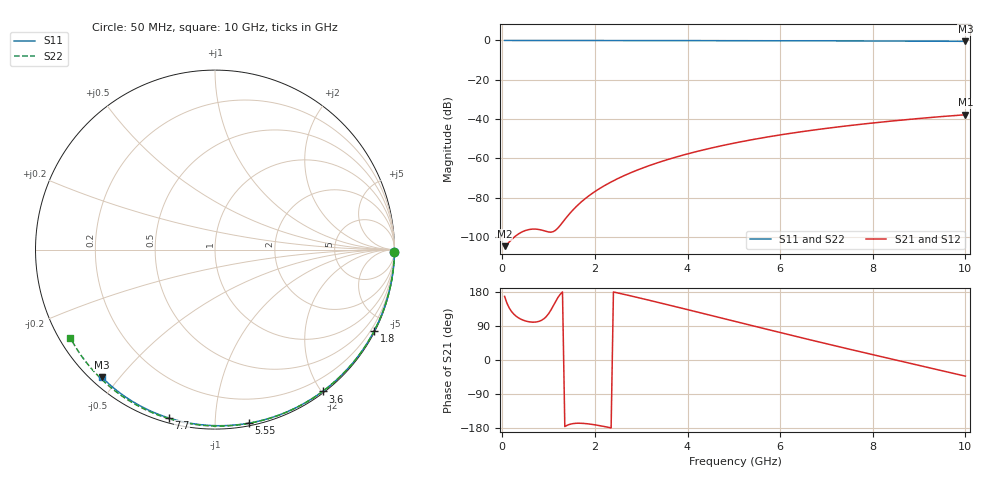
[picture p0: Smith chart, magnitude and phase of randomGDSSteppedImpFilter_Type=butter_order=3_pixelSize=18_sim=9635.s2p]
! freq	dB(S11)	phase(S11)	dB(S12)	phase(S12)
!  dB(S21)	phase(S21)	dB(S22)	phase(S22)
!S-par simulation data
#  GHz  S  DB  R 50
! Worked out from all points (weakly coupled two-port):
!   200 points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, 50 MHz to 10 GHz, reference 50 ohm
!   highest |S21| = -37.83 dB at 10 GHz (marker M1); lowest = -104.7 dB at 50 MHz (marker M2)
!   lowest |S11| = -0.4 dB at 10 GHz (marker M3), VSWR 38.98, Z = 1.54 - j22.4 ohm
!   |S11| at or under -10 dB: nowhere
!   |S22| runs from -0.5 to 0.0 dB; largest |S21 - S12| = 0
!   S11 on the Smith chart (normalised r, x): 50 MHz: open; 1.8 GHz: 0.04, -4.16; 3.6 GHz: 0.02, -2.01; 5.55 GHz: 0.02, -1.22; 7.7 GHz: 0.02, -0.76; 10 GHz: 0.03, -0.45
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0.05  -0.00 -0.8  -104.73 167.9  -104.73 167.9  -0.00 -0.9
0.45  -0.01 -6.9  -97.22 105.1  -97.22 105.1  -0.01 -7.8
0.9  -0.02 -13.6  -96.88 108.9  -96.88 108.9  -0.02 -15.4
1.3  -0.02 -19.6  -92.65 179.6  -92.65 179.6  -0.03 -22.2
1.75  -0.03 -26.3  -81.31 -167.3  -81.31 -167.3  -0.04 -29.7
1.8  -0.03 -27.0  -80.35 -167.8  -80.35 -167.8  -0.04 -30.5
1.85  -0.04 -27.7  -79.44 -168.5  -79.44 -168.5  -0.04 -31.4
2  -0.04 -29.9  -76.92 -171.1  -76.92 -171.1  -0.04 -33.9
2.15  -0.04 -32.1  -74.69 -174.3  -74.69 -174.3  -0.05 -36.3
2.5  -0.05 -37.2  -70.26 176.8  -70.26 176.8  -0.05 -42.0
2.9  -0.06 -42.9  -66.13 165.6  -66.13 165.6  -0.06 -48.5
3.4  -0.07 -50.0  -61.90 150.9  -61.90 150.9  -0.07 -56.4
3.6  -0.07 -52.8  -60.42 145.0  -60.42 145.0  -0.08 -59.5
4.3  -0.09 -62.4  -55.95 123.9  -55.95 123.9  -0.10 -70.3
5.05  -0.11 -72.4  -52.06 101.2  -52.06 101.2  -0.13 -81.4
5.55  -0.13 -78.9  -49.86 86.0  -49.86 86.0  -0.14 -88.6
6.1  -0.15 -85.8  -47.72 69.5  -47.72 69.5  -0.17 -96.4
6.7  -0.18 -93.3  -45.68 51.7  -45.68 51.7  -0.20 -104.7
7.7  -0.24 -105.3  -42.79 22.6  -42.79 22.6  -0.27 -118.2
8.35  -0.29 -112.9  -41.17 4.2  -41.17 4.2  -0.33 -126.8
9.2  -0.36 -122.7  -39.31 -19.9  -39.31 -19.9  -0.41 -138.0
10  -0.45 -131.7  -37.83 -42.6  -37.83 -42.6  -0.50 -148.6
